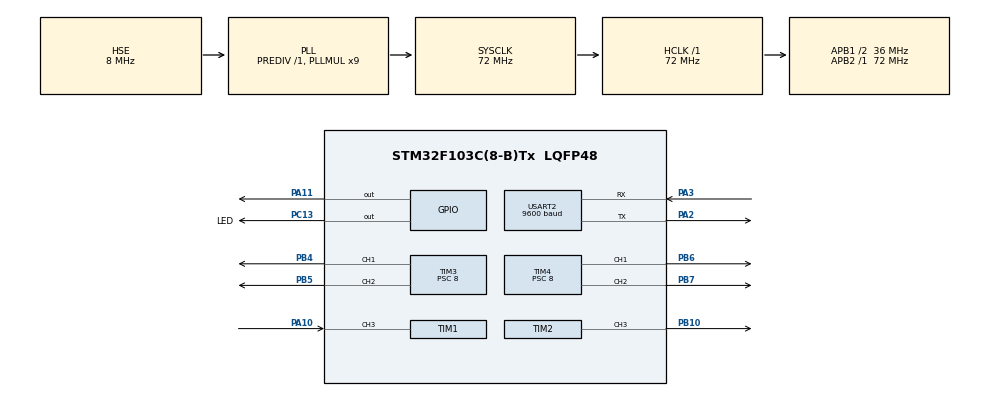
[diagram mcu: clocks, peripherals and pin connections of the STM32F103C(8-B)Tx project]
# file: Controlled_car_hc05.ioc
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Mcu.Family=STM32F1
Mcu.Name=STM32F103C(8-B)Tx
Mcu.Package=LQFP48
NVIC.PriorityGroup=NVIC_PRIORITYGROUP_4
NVIC.TIM1_CC_IRQn=true\:0\:0\:false\:false\:true\:true\:true
NVIC.USART2_IRQn=true\:0\:0\:false\:false\:true\:true\:true
PA10.Signal=S_TIM1_CH3
PA11.Signal=GPIO_Output
PA13.Mode=Serial_Wire
PA13.Signal=SYS_JTMS-SWDIO
PA14.Mode=Serial_Wire
PA14.Signal=SYS_JTCK-SWCLK
PA2.Mode=Asynchronous
PA2.Signal=USART2_TX
PA3.Mode=Asynchronous
PA3.Signal=USART2_RX
PB10.Signal=S_TIM2_CH3
PB4.Signal=S_TIM3_CH1
PB5.Signal=S_TIM3_CH2
PB6.Signal=S_TIM4_CH1
PB7.Signal=S_TIM4_CH2
PC13-TAMPER-RTC.GPIO_Label=LED
PC13-TAMPER-RTC.Signal=GPIO_Output
PD0-OSC_IN.Mode=HSE-External-Oscillator
PD0-OSC_IN.Signal=RCC_OSC_IN
PD1-OSC_OUT.Mode=HSE-External-Oscillator
PD1-OSC_OUT.Signal=RCC_OSC_OUT
ProjectManager.HeapSize=0x200
ProjectManager.StackSize=0x400
ProjectManager.TargetToolchain=MDK-ARM V5.27
RCC.AHBFreq_Value=72000000
RCC.APB1CLKDivider=RCC_HCLK_DIV2
RCC.APB1Freq_Value=36000000
RCC.APB1TimFreq_Value=72000000
RCC.APB2Freq_Value=72000000
RCC.APB2TimFreq_Value=72000000
RCC.HCLKFreq_Value=72000000
RCC.PLLMUL=RCC_PLL_MUL9
RCC.PLLSourceVirtual=RCC_PLLSOURCE_HSE
RCC.SYSCLKFreq_VALUE=72000000
RCC.SYSCLKSource=RCC_SYSCLKSOURCE_PLLCLK
RCC.USBFreq_Value=72000000
SH.S_TIM1_CH3.0=TIM1_CH3,Input_Capture3_from_TI3
SH.S_TIM2_CH3.0=TIM2_CH3,PWM Generation3 CH3
SH.S_TIM3_CH1.0=TIM3_CH1,PWM Generation1 CH1
SH.S_TIM3_CH2.0=TIM3_CH2,PWM Generation2 CH2
SH.S_TIM4_CH1.0=TIM4_CH1,PWM Generation1 CH1
SH.S_TIM4_CH2.0=TIM4_CH2,PWM Generation2 CH2
TIM1.Channel-Input_Capture3_from_TI3=TIM_CHANNEL_3
TIM1.Prescaler=72-1
TIM2.Channel-PWM\ Generation3\ CH3=TIM_CHANNEL_3
TIM2.Period=1000
TIM2.Prescaler=720
TIM3.Channel-PWM\ Generation1\ CH1=TIM_CHANNEL_1
TIM3.Channel-PWM\ Generation2\ CH2=TIM_CHANNEL_2
TIM3.Period=100
TIM3.Prescaler=8
TIM4.Channel-PWM\ Generation1\ CH1=TIM_CHANNEL_1
TIM4.Channel-PWM\ Generation2\ CH2=TIM_CHANNEL_2
TIM4.Period=100
TIM4.Prescaler=8
USART2.BaudRate=9600
USART2.VirtualMode=VM_ASYNC
board=custom

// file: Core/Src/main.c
/* USER CODE BEGIN Header */
/**
  ******************************************************************************
  * @file           : main.c
  * @brief          : Main program body
  ******************************************************************************
  * @attention
  *
  * <h2><center>&copy; Copyright (c) 2021 STMicroelectronics.
  * All rights reserved.</center></h2>
  *
  * This software component is licensed by ST under BSD 3-Clause license,
  * the "License"; You may not use this file except in compliance with the
  * License. You may obtain a copy of the License at:
  *                        opensource.org/licenses/BSD-3-Clause
  *
  ******************************************************************************
  */
/* USER CODE END Header */
#include "main.h"

/* USER CODE BEGIN Includes */
char Rx_data[1];
uint8_t state;
uint8_t state_led = 0;
uint8_t stop;
uint32_t i;
/* USER CODE END Includes */

TIM_HandleTypeDef htim1;
TIM_HandleTypeDef htim2;
TIM_HandleTypeDef htim3;
TIM_HandleTypeDef htim4;

UART_HandleTypeDef huart2;

void SystemClock_Config(void);
static void MX_GPIO_Init(void);
static void MX_TIM3_Init(void);
static void MX_TIM4_Init(void);
static void MX_USART2_UART_Init(void);
static void MX_TIM1_Init(void);
static void MX_TIM2_Init(void);

/* USER CODE BEGIN 0 */

//Delay uS for HCSR04
void delay(uint16_t time) //HAM DELAY uS
{
	__HAL_TIM_SET_COUNTER(&htim1, 0);
	while(__HAL_TIM_GET_COUNTER(&htim1) < time);
}

//Variables for HCSR04
uint32_t IC_Val1 = 0;
uint32_t IC_Val2 = 0;
uint32_t Difference = 0;
uint8_t Is_First_Captured = 0;  // is the first value captured ?
uint32_t Distance  = 100;

#define TRIG_PIN GPIO_PIN_11
#define TRIG_PORT GPIOA

// Let's write the callback function

void HAL_TIM_IC_CaptureCallback(TIM_HandleTypeDef *htim) //CODE HCSR04
{
	if (htim->Channel == HAL_TIM_ACTIVE_CHANNEL_3)  // if the interrupt source is channel1
	{
		if (Is_First_Captured==0) // if the first value is not captured
		{
			IC_Val1 = HAL_TIM_ReadCapturedValue(htim, TIM_CHANNEL_3); // read the first value
			Is_First_Captured = 1;  // set the first captured as true
			// Now change the polarity to falling edge
			__HAL_TIM_SET_CAPTUREPOLARITY(htim, TIM_CHANNEL_3, TIM_INPUTCHANNELPOLARITY_FALLING);
		}

		else if (Is_First_Captured==1)   // if the first is already captured
		{
			IC_Val2 = HAL_TIM_ReadCapturedValue(htim, TIM_CHANNEL_3);  // read second value
			__HAL_TIM_SET_COUNTER(htim, 0);  // reset the counter

			if (IC_Val2 > IC_Val1)
			{
				Difference = IC_Val2-IC_Val1;
			}

			else if (IC_Val1 > IC_Val2)
			{
				Difference = (0xffff - IC_Val1) + IC_Val2;
			}

			Distance = Difference * .034/2;
			Is_First_Captured = 0; // set it back to false

			// set polarity to rising edge
			__HAL_TIM_SET_CAPTUREPOLARITY(htim, TIM_CHANNEL_3, TIM_INPUTCHANNELPOLARITY_RISING);
			__HAL_TIM_DISABLE_IT(&htim1, TIM_IT_CC3);
		}
	}
}

void HCSR04_Read (void)
{
	HAL_GPIO_WritePin(TRIG_PORT, TRIG_PIN, GPIO_PIN_SET);  // pull the TRIG pin HIGH
	delay(10);  // wait for 10 us
	HAL_GPIO_WritePin(TRIG_PORT, TRIG_PIN, GPIO_PIN_RESET);  // pull the TRIG pin low

	__HAL_TIM_ENABLE_IT(&htim1, TIM_IT_CC3);
}

void HAL_UART_RxCpltCallback(UART_HandleTypeDef *huart) //CODE RECEIVE BLUETOOTH SIGNALS
{
		if(Rx_data[0] == 'w') state_led = 0;	//disable
		if(Rx_data[0] == 'W') state_led = 1;	//enable
		//if(Rx_data[0] == 'A') state_led = 2;	//avoiding car (UNUSED)
		if(Rx_data[0] == 'B') state = 2;	//backward
		if(Rx_data[0] == 'L') state = 4;	//left
		if(Rx_data[0] == 'R') state = 6;	//right
		if(Rx_data[0] == 'F') state = 8;	//forward
		if(Rx_data[0] == 'S') state = 0;	//stand
		if(Rx_data[0] == 'G') state = 7;	//forward_left
		if(Rx_data[0] == 'I') state = 9;	//forward_right
		if(Rx_data[0] == 'H') state = 1;	//backward_left
		if(Rx_data[0] == 'J') state = 3;  //backward_right
		HAL_UART_Receive_IT(&huart2, (uint8_t*)Rx_data, 1);
}

void dieukhien() //CODE DIEU KHIEN
{
		HAL_GPIO_WritePin(LED_GPIO_Port, LED_Pin, 0);
		HCSR04_Read();
		HAL_Delay(15);
		if(Distance >= 30) //Move any directions
		{
			switch(state)
			{
				case 8:
					htim3.Instance->CCR1 = 90;
					htim3.Instance->CCR2 = 0;
					htim4.Instance->CCR2 = 90;
					htim4.Instance->CCR1 = 0;
				break;

				case 6:
					htim3.Instance->CCR2 = 0;
					htim3.Instance->CCR1 = 45;
					htim4.Instance->CCR1 = 45;
					htim4.Instance->CCR2 = 0;
				break;

				case 4:
					htim3.Instance->CCR2 = 45;
					htim3.Instance->CCR1 = 0;
					htim4.Instance->CCR1 = 0;
					htim4.Instance->CCR2 = 45;
				break;

				case 2:
					htim3.Instance->CCR2 = 90;
					htim3.Instance->CCR1 = 0;
					htim4.Instance->CCR1 = 90;
					htim4.Instance->CCR2 = 0;
				break;

				case 7:
					htim3.Instance->CCR2 = 0;
					htim3.Instance->CCR1 = 40;
					htim4.Instance->CCR1 = 0;
					htim4.Instance->CCR2 = 90;
				break;

				case 9:
					htim3.Instance->CCR2 = 0;
					htim3.Instance->CCR1 = 90;
					htim4.Instance->CCR1 = 0;
					htim4.Instance->CCR2 = 40;
				break;

				case 1:
					htim3.Instance->CCR2 = 90;
					htim3.Instance->CCR1 = 0;
					htim4.Instance->CCR1 = 40;
					htim4.Instance->CCR2 = 0;
				break;

				case 3:
					htim3.Instance->CCR2 = 40;
					htim3.Instance->CCR1 = 0;
					htim4.Instance->CCR1 = 90;
					htim4.Instance->CCR2 = 0;
				break;

				case 0:
					htim3.Instance->CCR2 = 0;
					htim3.Instance->CCR1 = 0;
					htim4.Instance->CCR1 = 0;
					htim4.Instance->CCR2 = 0;
				break;
			}
		}
		else //if distance < 30 -> just be able to backward
		{
			if(state == 2)
			{
					htim3.Instance->CCR2 = 90;
					htim3.Instance->CCR1 = 0;
					htim4.Instance->CCR1 = 90;
					htim4.Instance->CCR2 = 0;
			}
			else
			{
					htim3.Instance->CCR2 = 0;
					htim3.Instance->CCR1 = 0;
					htim4.Instance->CCR1 = 0;
					htim4.Instance->CCR2 = 0;
			}
		}
}

/* USER CODE END 0 */

int main(void)
{

  /* MCU Configuration--------------------------------------------------------*/

  /* Reset of all peripherals, Initializes the Flash interface and the Systick. */
  HAL_Init();

  /* Configure the system clock */
  SystemClock_Config();

  /* Initialize all configured peripherals */
  MX_GPIO_Init();
  MX_TIM3_Init();
  MX_TIM4_Init();
  MX_USART2_UART_Init();
  MX_TIM1_Init();
  MX_TIM2_Init();
  /* USER CODE BEGIN 2 */
	//HAL_TIM_PWM_Start(&htim2, TIM_CHANNEL_3);			//initialize servo (UNUSED)
	HAL_TIM_IC_Start_IT(&htim1, TIM_CHANNEL_3);			//initialize ECHO pin for HCSR04
	HAL_TIM_PWM_Start(&htim3, TIM_CHANNEL_1);				//initialize PWM pins for MOTORS DC
	HAL_TIM_PWM_Start(&htim3, TIM_CHANNEL_2);
	HAL_TIM_PWM_Start(&htim4, TIM_CHANNEL_1);
	HAL_TIM_PWM_Start(&htim4, TIM_CHANNEL_2);
	HAL_UART_Receive_IT(&huart2, (uint8_t*)Rx_data, 1);	//Receive BLUETOOTH signals

  /* Infinite loop */
  while (1)
  {

    /* USER CODE BEGIN 3 */
		switch(state_led)
		{
			case 0: //DISABLE -> car stand still
				HAL_GPIO_WritePin(LED_GPIO_Port, LED_Pin, 1);
				htim3.Instance->CCR2 = 0;
				htim3.Instance->CCR1 = 0;
				htim4.Instance->CCR1 = 0;
				htim4.Instance->CCR2 = 0;
			break;

			case 1: //ENABLE -> car move
				dieukhien();
			break;
		}
	}
  /* USER CODE END 3 */
}

void SystemClock_Config(void)
{
  RCC_OscInitTypeDef RCC_OscInitStruct = {0};
  RCC_ClkInitTypeDef RCC_ClkInitStruct = {0};

  /** Initializes the RCC Oscillators according to the specified parameters
  * in the RCC_OscInitTypeDef structure.
  */
  RCC_OscInitStruct.OscillatorType = RCC_OSCILLATORTYPE_HSE;
  RCC_OscInitStruct.HSEState = RCC_HSE_ON;
  RCC_OscInitStruct.HSEPredivValue = RCC_HSE_PREDIV_DIV1;
  RCC_OscInitStruct.HSIState = RCC_HSI_ON;
  RCC_OscInitStruct.PLL.PLLState = RCC_PLL_ON;
  RCC_OscInitStruct.PLL.PLLSource = RCC_PLLSOURCE_HSE;
  RCC_OscInitStruct.PLL.PLLMUL = RCC_PLL_MUL9;
  if (HAL_RCC_OscConfig(&RCC_OscInitStruct) != HAL_OK)
  {
    Error_Handler();
  }
  /** Initializes the CPU, AHB and APB buses clocks
  */
  RCC_ClkInitStruct.ClockType = RCC_CLOCKTYPE_HCLK|RCC_CLOCKTYPE_SYSCLK
                              |RCC_CLOCKTYPE_PCLK1|RCC_CLOCKTYPE_PCLK2;
  RCC_ClkInitStruct.SYSCLKSource = RCC_SYSCLKSOURCE_PLLCLK;
  RCC_ClkInitStruct.AHBCLKDivider = RCC_SYSCLK_DIV1;
  RCC_ClkInitStruct.APB1CLKDivider = RCC_HCLK_DIV2;
  RCC_ClkInitStruct.APB2CLKDivider = RCC_HCLK_DIV1;

  if (HAL_RCC_ClockConfig(&RCC_ClkInitStruct, FLASH_LATENCY_2) != HAL_OK)
  {
    Error_Handler();
  }
}

static void MX_TIM1_Init(void)
{

  TIM_MasterConfigTypeDef sMasterConfig = {0};
  TIM_IC_InitTypeDef sConfigIC = {0};

  htim1.Instance = TIM1;
  htim1.Init.Prescaler = 72-1;
  htim1.Init.CounterMode = TIM_COUNTERMODE_UP;
  htim1.Init.Period = 65535;
  htim1.Init.ClockDivision = TIM_CLOCKDIVISION_DIV1;
  htim1.Init.RepetitionCounter = 0;
  htim1.Init.AutoReloadPreload = TIM_AUTORELOAD_PRELOAD_DISABLE;
  if (HAL_TIM_IC_Init(&htim1) != HAL_OK)
  {
    Error_Handler();
  }
  sMasterConfig.MasterOutputTrigger = TIM_TRGO_RESET;
  sMasterConfig.MasterSlaveMode = TIM_MASTERSLAVEMODE_DISABLE;
  if (HAL_TIMEx_MasterConfigSynchronization(&htim1, &sMasterConfig) != HAL_OK)
  {
    Error_Handler();
  }
  sConfigIC.ICPolarity = TIM_INPUTCHANNELPOLARITY_RISING;
  sConfigIC.ICSelection = TIM_ICSELECTION_DIRECTTI;
  sConfigIC.ICPrescaler = TIM_ICPSC_DIV1;
  sConfigIC.ICFilter = 0;
  if (HAL_TIM_IC_ConfigChannel(&htim1, &sConfigIC, TIM_CHANNEL_3) != HAL_OK)
  {
    Error_Handler();
  }

}

static void MX_TIM2_Init(void)
{

  TIM_MasterConfigTypeDef sMasterConfig = {0};
  TIM_OC_InitTypeDef sConfigOC = {0};

  htim2.Instance = TIM2;
  htim2.Init.Prescaler = 720;
  htim2.Init.CounterMode = TIM_COUNTERMODE_UP;
  htim2.Init.Period = 1000;
  htim2.Init.ClockDivision = TIM_CLOCKDIVISION_DIV1;
  htim2.Init.AutoReloadPreload = TIM_AUTORELOAD_PRELOAD_DISABLE;
  if (HAL_TIM_PWM_Init(&htim2) != HAL_OK)
  {
    Error_Handler();
  }
  sMasterConfig.MasterOutputTrigger = TIM_TRGO_RESET;
  sMasterConfig.MasterSlaveMode = TIM_MASTERSLAVEMODE_DISABLE;
  if (HAL_TIMEx_MasterConfigSynchronization(&htim2, &sMasterConfig) != HAL_OK)
  {
    Error_Handler();
  }
  sConfigOC.OCMode = TIM_OCMODE_PWM1;
  sConfigOC.Pulse = 0;
  sConfigOC.OCPolarity = TIM_OCPOLARITY_HIGH;
  sConfigOC.OCFastMode = TIM_OCFAST_DISABLE;
  if (HAL_TIM_PWM_ConfigChannel(&htim2, &sConfigOC, TIM_CHANNEL_3) != HAL_OK)
  {
    Error_Handler();
  }
  HAL_TIM_MspPostInit(&htim2);

}

static void MX_TIM3_Init(void)
{

  TIM_MasterConfigTypeDef sMasterConfig = {0};
  TIM_OC_InitTypeDef sConfigOC = {0};

  htim3.Instance = TIM3;
  htim3.Init.Prescaler = 8;
  htim3.Init.CounterMode = TIM_COUNTERMODE_UP;
  htim3.Init.Period = 100;
  htim3.Init.ClockDivision = TIM_CLOCKDIVISION_DIV1;
  htim3.Init.AutoReloadPreload = TIM_AUTORELOAD_PRELOAD_DISABLE;
  if (HAL_TIM_PWM_Init(&htim3) != HAL_OK)
  {
    Error_Handler();
  }
  sMasterConfig.MasterOutputTrigger = TIM_TRGO_RESET;
  sMasterConfig.MasterSlaveMode = TIM_MASTERSLAVEMODE_DISABLE;
  if (HAL_TIMEx_MasterConfigSynchronization(&htim3, &sMasterConfig) != HAL_OK)
  {
    Error_Handler();
  }
  sConfigOC.OCMode = TIM_OCMODE_PWM1;
  sConfigOC.Pulse = 0;
  sConfigOC.OCPolarity = TIM_OCPOLARITY_HIGH;
  sConfigOC.OCFastMode = TIM_OCFAST_DISABLE;
  if (HAL_TIM_PWM_ConfigChannel(&htim3, &sConfigOC, TIM_CHANNEL_1) != HAL_OK)
  {
    Error_Handler();
  }
  if (HAL_TIM_PWM_ConfigChannel(&htim3, &sConfigOC, TIM_CHANNEL_2) != HAL_OK)
  {
    Error_Handler();
  }
  HAL_TIM_MspPostInit(&htim3);

}

static void MX_TIM4_Init(void)
{

  TIM_MasterConfigTypeDef sMasterConfig = {0};
  TIM_OC_InitTypeDef sConfigOC = {0};

  htim4.Instance = TIM4;
  htim4.Init.Prescaler = 8;
  htim4.Init.CounterMode = TIM_COUNTERMODE_UP;
  htim4.Init.Period = 100;
  htim4.Init.ClockDivision = TIM_CLOCKDIVISION_DIV1;
  htim4.Init.AutoReloadPreload = TIM_AUTORELOAD_PRELOAD_DISABLE;
  if (HAL_TIM_PWM_Init(&htim4) != HAL_OK)
  {
    Error_Handler();
  }
  sMasterConfig.MasterOutputTrigger = TIM_TRGO_RESET;
  sMasterConfig.MasterSlaveMode = TIM_MASTERSLAVEMODE_DISABLE;
  if (HAL_TIMEx_MasterConfigSynchronization(&htim4, &sMasterConfig) != HAL_OK)
  {
    Error_Handler();
  }
  sConfigOC.OCMode = TIM_OCMODE_PWM1;
  sConfigOC.Pulse = 0;
  sConfigOC.OCPolarity = TIM_OCPOLARITY_HIGH;
  sConfigOC.OCFastMode = TIM_OCFAST_DISABLE;
  if (HAL_TIM_PWM_ConfigChannel(&htim4, &sConfigOC, TIM_CHANNEL_1) != HAL_OK)
  {
    Error_Handler();
  }
  if (HAL_TIM_PWM_ConfigChannel(&htim4, &sConfigOC, TIM_CHANNEL_2) != HAL_OK)
  {
    Error_Handler();
  }
  HAL_TIM_MspPostInit(&htim4);

}

static void MX_USART2_UART_Init(void)
{

  huart2.Instance = USART2;
  huart2.Init.BaudRate = 9600;
  huart2.Init.WordLength = UART_WORDLENGTH_8B;
  huart2.Init.StopBits = UART_STOPBITS_1;
  huart2.Init.Parity = UART_PARITY_NONE;
  huart2.Init.Mode = UART_MODE_TX_RX;
  huart2.Init.HwFlowCtl = UART_HWCONTROL_NONE;
  huart2.Init.OverSampling = UART_OVERSAMPLING_16;
  if (HAL_UART_Init(&huart2) != HAL_OK)
  {
    Error_Handler();
  }

}

static void MX_GPIO_Init(void)
{
  GPIO_InitTypeDef GPIO_InitStruct = {0};

  /* GPIO Ports Clock Enable */
  __HAL_RCC_GPIOC_CLK_ENABLE();
  __HAL_RCC_GPIOD_CLK_ENABLE();
  __HAL_RCC_GPIOA_CLK_ENABLE();
  __HAL_RCC_GPIOB_CLK_ENABLE();

  /*Configure GPIO pin Output Level */
  HAL_GPIO_WritePin(LED_GPIO_Port, LED_Pin, GPIO_PIN_RESET);

  /*Configure GPIO pin Output Level */
  HAL_GPIO_WritePin(GPIOA, GPIO_PIN_11, GPIO_PIN_RESET);

  /*Configure GPIO pin : LED_Pin */
  GPIO_InitStruct.Pin = LED_Pin;
  GPIO_InitStruct.Mode = GPIO_MODE_OUTPUT_PP;
  GPIO_InitStruct.Pull = GPIO_NOPULL;
  GPIO_InitStruct.Speed = GPIO_SPEED_FREQ_LOW;
  HAL_GPIO_Init(LED_GPIO_Port, &GPIO_InitStruct);

  /*Configure GPIO pin : PA11 */
  GPIO_InitStruct.Pin = GPIO_PIN_11;
  GPIO_InitStruct.Mode = GPIO_MODE_OUTPUT_PP;
  GPIO_InitStruct.Pull = GPIO_NOPULL;
  GPIO_InitStruct.Speed = GPIO_SPEED_FREQ_LOW;
  HAL_GPIO_Init(GPIOA, &GPIO_InitStruct);

}

void Error_Handler(void)
{
  __disable_irq();
  while (1)
  {
  }
}

/************************ (C) COPYRIGHT STMicroelectronics *****END OF FILE****/
